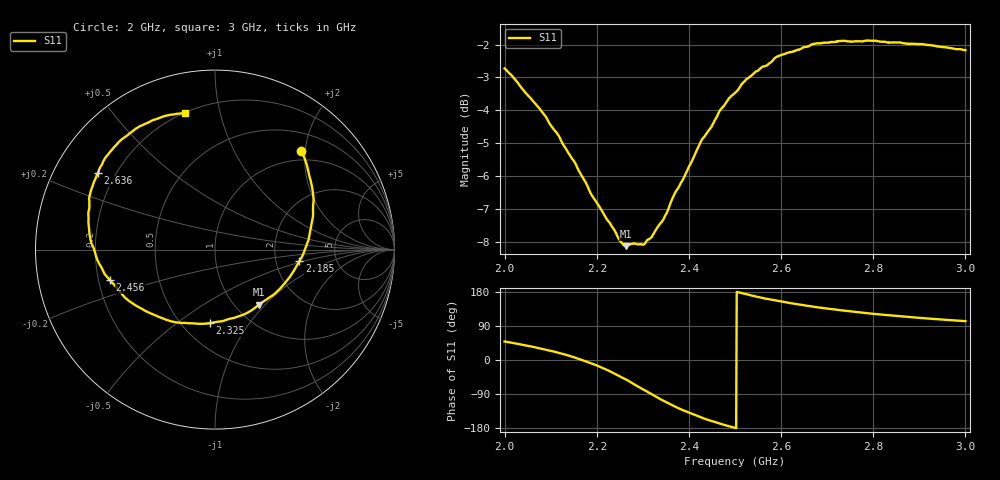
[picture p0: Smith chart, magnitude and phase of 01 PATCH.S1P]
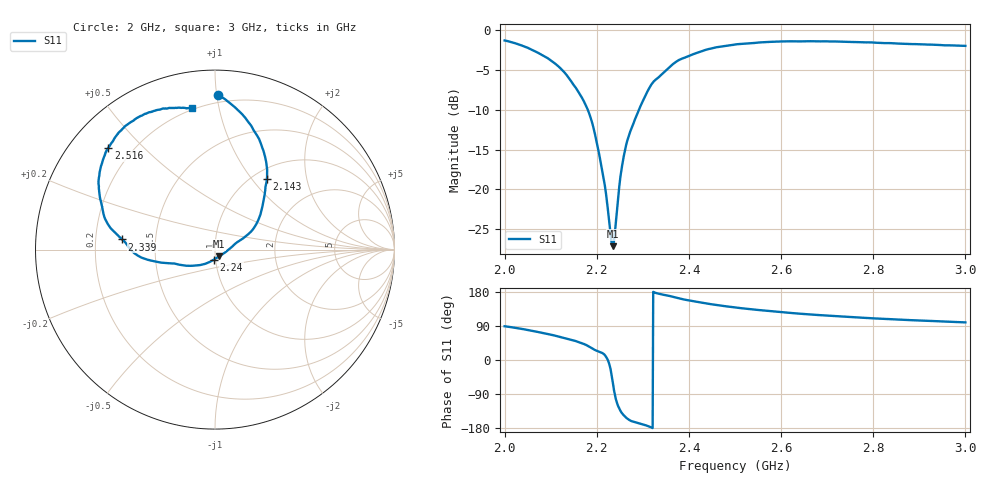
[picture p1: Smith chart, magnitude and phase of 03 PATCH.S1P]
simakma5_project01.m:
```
close all; clear; clc; addpath(genpath(fullfile([pwd '\Uni' '\grad' '\NKA' '\sem01'])))

%% 1 Patch antenna TLM (Transmission Line Model) design
% universal constants
c = 3e8;
mu0 = 4*pi*1e-7;
% resonant frequency
f_r = 1.8e9;
lambda0 = c/f_r;
k0 = 2*pi/lambda0;
% copper cladding
t = 35e-6;
sigma = 5.6e7;
% substrate DICLAD
h = 1.5e-3;
epsR = 2.6;
tand = 0.0022;
% computational parameters
fSpan = 1e9;                                    % frequency plots span
Nfpoints = 5e3+1;                               % number of freq. points
f = linspace(f_r-fSpan/2, f_r+fSpan/2, Nfpoints);
NLpoints = 5e3;                                 % number of length points

% 1.1
% antenna dimensions
W = c./(2*f)*sqrt(2/(epsR+1));
epsR_eff = (epsR+1)/2+(epsR-1)/2*(1+12*h./W).^(-1/2);
deltaL = 0.412*h.*(((epsR_eff+0.3).*(W/h+0.264))./((epsR_eff-0.258).*(W/h+0.813)));
L_eff = c./(2*f.*sqrt(epsR_eff));
L = L_eff-2*deltaL;
fprintf('1.1\n----\n')
fprintf('f_r = %.2 GHz\n', f_r*1e-9)
fprintf('W(f=f_r) = %.2f mm\n', W(f==f_r)*1e3)
fprintf('L(f=f_r) = %.2f mm\n', L(f==f_r)*1e3)

% 1.2
% radiating slot admittance Y_s = G + iB
G = W/(120*lambda0)*(1-(k0*h)^2/24);            % for h/lambda0 < 1/10
B = W/(120*lambda0)*(1-0.636*log(k0*h));        % for 0.35 < W/lambda0 < 2
Y_s = G + 1i*B;
Z_s = 1./Y_s;

% characteristic impedance Z_c of a microstrip
if W/h <= 1
    Z_c = 60/sqrt(epsR_eff)*log(8*h/W+W/(4*h));
else
    Z_c = 120*pi./(sqrt(epsR_eff).*(W/h+1.393+0.667*log(W/h+1.444)));
end

% input impedance Z_in as a function of:
% L ... position of the feeding point from the edge of the antenna,
% f ... operating frequency
beta = 2*pi*sqrt(epsR_eff)/lambda0;
[L1, L2, Z1, Z2] = deal(zeros(NLpoints, Nfpoints));
for fi = 1:Nfpoints
    L1(:,fi) = linspace(0, L(fi), NLpoints);
    L2(:,fi) = L(fi) - L1(:, fi);
    Z1(:,fi) = Z_c(fi).*(Z_s(fi)+1i*Z_c(fi).*tan(beta(fi).*L1(:,fi)))./(Z_c(fi)+1i.*Z_s(fi).*tan(beta(fi).*L1(:,fi)));
    Z2(:,fi) = Z_c(fi).*(Z_s(fi)+1i*Z_c(fi).*tan(beta(fi).*L2(:,fi)))./(Z_c(fi)+1i.*Z_s(fi).*tan(beta(fi).*L2(:,fi)));
end
Z_in = 1./(1./Z1+1./Z2);

% input impedance frequency plot for L1 == 0 mm
figure(1)
plot(f*1e-9, real(Z_in(1,:)))
hold on
plot(f*1e-9, imag(Z_in(1,:)))
xline(f_r*1e-9, '-.')
yline(0)
hold off
axis tight
grid on
grid minor
xlabel('Frequency [GHz]')
ylabel('[\Omega]')
legend('R_{in}', 'X_{in}')
title('Input impedance of edge-fed antenna')

% module of reflection coefficient frequency plot for L1 == 0 mm
figure(2)
plot(f*1e-9, 20*log10(abs((50-Z_in(1,:))./(50+Z_in(1,:)))))
hold on
xline(f_r*1e-9, '-.')
hold off
axis tight
grid on
grid minor
xlabel('Frequency [GHz]')
ylabel('|\Gamma| [dB]')
title('Reflection coefficient of edge-fed antenna')

% 1.3
% input impedance for L1 == 0 mm, f == f_r
fprintf('\n1.3\n----\n')
fprintf('Z_in(L1=0,f=f_r) = %.2f%+.2fi Ohm\n', real(Z_in(1,f==f_r)), imag(Z_in(1,f==f_r)))

% input impedance feeding point position plot
figure(3)
plot(L1(:,f==f_r)/L(f==f_r), real(Z_in(:,f==f_r)))
hold on
plot(L1(:,f==f_r)/L(f==f_r), imag(Z_in(:,f==f_r)))
line = yline(50, '--', '50');
line.LabelVerticalAlignment = 'bottom';
hold off
axis tight
grid on
grid minor
xlabel('L_1/L [-]')
ylabel('[\Omega]')
legend('R_{in}', 'X_{in}', 'Location', 'southeast')
title('Input impedance at resonant frequency')

% find L for which R_in is approx. 50 Ohm @f==f_r
[R_match, l_match] = min(abs(real(Z_in(:,f==f_r))-50));
R_match = R_match + 50;
disp(['L_match = ' num2str(round(L1(l_match,f==f_r)*1e3, 2)) ' mm'])
% disp(['R_match = ' num2str(round(R_match, 2)) ' Ohm'])

% input impedance frequency plot for L == L_match
figure(4)
plot(f*1e-9, real(Z_in(l_match,:)))
hold on
plot(f*1e-9, imag(Z_in(l_match,:)))
xline(f_r*1e-9, '-.')
hold off
axis tight
grid on
grid minor
xlabel('Frequency [GHz]')
ylabel('[\Omega]')
legend('R_{in}', 'X_{in}')
title('Input impedance of matched antenna')

% module of reflection coefficient frequency plot for L == L_match
figure(5)
Gamma_match_dB = 20*log10(abs((50-Z_in(l_match,:))./(50+Z_in(l_match,:))));
plot(f*1e-9, Gamma_match_dB)
hold on
xline(f_r*1e-9, '-.')
hold off
axis tight
grid on
grid minor
xlabel('Frequency [GHz]')
ylabel('|\Gamma| [dB]')
title('Reflection coefficient of matched antenna')

% 1.4
% Q-factor defined as the ratio of energy accumulated in cavity over
% energy lost in materials
Q_d = 1/tand;                                   % dielectric
Q_c = sqrt(pi*f_r*mu0*sigma*t);                 % conductor
Q_r = c*sqrt(epsR)/(4*f_r*h);                   % radiation
Q_t = 1/(1/Q_d+1/Q_c+1/Q_r);                    % total

% analytical formula for bandwidth of VSWR < 2
% BW = (VSWR-1)/(Q_t*sqrt(VSWR))
BW_analytic = 1/(Q_t*sqrt(2))*100;
fprintf('\n1.4\n----\n')
fprintf('Analytically: BW(VSWR<2) = %.2f %%\n', BW_analytic)

% determine BW(VSWR<2) (|Gamma(VSWR=2)| = -9.54 dB) from computed |Gamma|
[~, f_VSWR2] = min(abs(Gamma_match_dB+9.54));
BW_numeric = abs(Nfpoints-2*f_VSWR2)/Nfpoints*100;
fprintf('Numerically:  BW(VSWR<2) = %.2f %%\n', BW_numeric)

% 1.5
% evaluate BW(VSWR<2) according to the analytical formula for commonly
% manufactured ranges of values of h and epsR
hRange = 0.5e-3:0.1e-3:5e-3;
epsRRange = 1:0.1:10;
Q_d = 1/tand;
Q_c = sqrt(pi*f_r*mu0*sigma*t);
Q_r = zeros(length(epsRRange), length(hRange));
for i = 1:length(epsRRange)
    Q_r(i,:) = c*sqrt(epsRRange(i))./(4*f_r*hRange(:));
end
Q_t = 1./(1/Q_d+1/Q_c+1./Q_r);
BW_analytic = 1./(Q_t*sqrt(2))*100;

figure(6)
plot(hRange*1e3, BW_analytic(epsRRange==epsR,:))
line = xline(h*1e3, '--', 'h');
line.LabelVerticalAlignment = 'bottom';
axis tight
grid on
grid minor
xlabel('h [mm]')
ylabel('BW(VSWR<2) [%]')
title(['Antenna bandwidth of VSWR < 2 for epsR = ' num2str(epsR)])

figure(7)
plot(epsRRange, BW_analytic(:,hRange==h))
line = xline(epsR, '--', 'epsR');
line.LabelVerticalAlignment = 'bottom';
axis tight
grid on
grid minor
xlabel('epsR [-]')
ylabel('BW(VSWR<2) [%]')
title(['Antenna bandwidth of VSWR < 2 for h = ' num2str(h*1e3) ' mm'])

% 1.6
theta = linspace(-pi/2, pi/2, 180);
F_E = sin(k0*h/2.*cos(theta))./(k0*h/2.*cos(theta)).*cos(k0*L_eff(f==f_r)/2.*sin(theta));
F_H = cos(theta).*sin(k0*h/2.*cos(theta))./(k0*h/2.*cos(theta)).*sin(k0*W(f==f_r)/2.*sin(theta))./(k0*W(f==f_r)/2.*sin(theta));

figure(8)
polarplot(theta, F_E)
title('Normalized elevation field pattern')

figure(9)
polarplot(theta, F_H)
title('Normalized azimuthal field pattern')

%% 2 Patch antenna measurement
patch4mm = sparameters(fullfile('data', '01 PATCH.S1P'));
patch16mm = sparameters(fullfile('data', '03 PATCH.S1P'));
patch28mm = sparameters(fullfile('data', '05 PATCH.S1P'));
% fMeas = patch4mm.Frequencies;
% NfpointsMeas = length(fMeas);

L4mm = find(round(L1(:,f==f_r),3)==4e-3);
L4mm = L4mm(ceil(end/2));
L16mm = find(round(L1(:,f==f_r),3)==16e-3);
L16mm = L16mm(ceil(end/2));
L26mm = find(round(L1(:,f==f_r),3)==26e-3);
L26mm = L26mm(ceil(end/2));

figure(11)
rfplot(patch4mm)
% rfplot(patch16mm)
% rfplot(patch28mm)
hold on
plot(f*1e-9, 20*log10(abs((50-Z_in(L4mm,:))./(50+Z_in(L4mm,:)))))
hold off
xlabel('Frequency [GHz]')
ylabel('|S_{11}| [dB]')
legend('Measured data', 'TLM', 'Location', 'southeast')
title('')
```
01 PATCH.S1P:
!Agilent Technologies,E5071C,MY46105125,A.08.12
!Date: Tue Sep 16 09:35:54 2014
!Data & Calibration Information:
!Freq	S11:SOLT1(ON)
# Hz S RI R 50
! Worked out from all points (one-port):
!   801 points, 2 GHz to 3 GHz, reference 50 ohm
!   lowest |S11| = -8.1 dB at 2.264 GHz (marker M1), VSWR 2.29, Z = 63.4 - j46.1 ohm
!   |S11| at or under -10 dB: nowhere
!   S11 on the Smith chart (normalised r, x): 2 GHz: 0.82, +1.93; 2.185 GHz: 2.72, -0.45; 2.325 GHz: 0.68, -0.67; 2.456 GHz: 0.25, -0.13; 2.636 GHz: 0.13, +0.29; 3 GHz: 0.20, +0.78
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2e9  0.4816 0.5493
2.09e9  0.5495 0.2778
2.185e9  0.4703 -0.0633
2.26375e9  0.2428 -0.3076
2.325e9  -0.0301 -0.4102
2.33375e9  -0.0762 -0.4134
2.395e9  -0.3679 -0.351
2.45625e9  -0.5848 -0.1713
2.52875e9  -0.6996 0.0958
2.58875e9  -0.6995 0.2962
2.63625e9  -0.6535 0.4259
2.6675e9  -0.6191 0.4981
2.80625e9  -0.4154 0.6889
3e9  -0.1681 0.7603
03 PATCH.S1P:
!Agilent Technologies,E5071C,MY46105125,A.08.12
!Date: Tue Sep 16 09:39:24 2014
!Data & Calibration Information:
!Freq	S11:SOLT1(ON)
# Hz S RI R 50
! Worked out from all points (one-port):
!   801 points, 2 GHz to 3 GHz, reference 50 ohm
!   lowest |S11| = -27.1 dB at 2.235 GHz (marker M1), VSWR 1.09, Z = 52 - j3.99 ohm
!   |S11| at or under -10 dB: 2.181 GHz to 2.291 GHz (110.9 MHz wide, 4.96 % of centre)
!   S11 on the Smith chart (normalised r, x): 2 GHz: 0.15, +1.01; 2.143 GHz: 1.16, +1.19; 2.24 GHz: 0.98, -0.11; 2.339 GHz: 0.32, +0.05; 2.516 GHz: 0.11, +0.40; 3 GHz: 0.19, +0.83
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2e9  0.0148 0.8616
2.07125e9  0.1965 0.697
2.1425e9  0.2885 0.3913
2.19125e9  0.2206 0.1261
2.235e9  0.0216 -0.0383
2.24e9  -0.00593 -0.0557
2.2525e9  -0.0918 -0.0872
2.2675e9  -0.1892 -0.0854
2.33375e9  -0.5025 0.0424
2.33875e9  -0.5174 0.0567
2.4125e9  -0.6432 0.305
2.51625e9  -0.5935 0.5672
2.6675e9  -0.4229 0.7398
3e9  -0.128 0.7862
